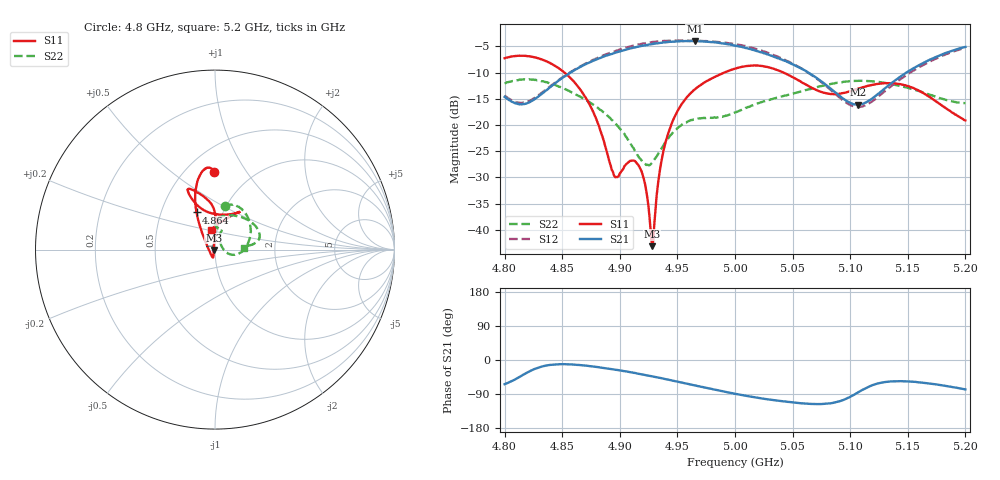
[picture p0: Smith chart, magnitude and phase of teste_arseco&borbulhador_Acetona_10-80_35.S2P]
! Network Analyzer HP8722D
! Hewlett-Packard
! Data name: Linha & Wilkinson
! Saver's name: Rodrigo Anjos
! Comments: Teste da utilização de aquisição
! continua pelo VNA HP8722D
! Time and date: 25/4/2025 15:33
!  Frequency  S11  S21  S12  S22
# HZ  S  MA R 50
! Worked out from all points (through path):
!   401 points, 4.8 GHz to 5.2 GHz, reference 50 ohm
!   highest |S21| = -3.97 dB at 4.965 GHz (marker M1); lowest = -16.1 dB at 5.107 GHz (marker M2)
!   lowest |S11| = -43.1 dB at 4.928 GHz (marker M3), VSWR 1.01, Z = 49.3 - j0.152 ohm
!   |S11| at or under -10 dB: 4.852 GHz to 4.991 GHz (138.8 MHz wide, 2.82 % of centre); 5.042 GHz to end of sweep
!   |S22| runs from -27.7 to -11.3 dB; largest |S21 - S12| = 1.2
!   S11 on the Smith chart (normalised r, x): 4.8 GHz: 0.68, +0.72; 4.864 GHz: 0.75, +0.33; 5.2 GHz: 0.94, +0.21
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4.8e9  0.4334 90.6  0.1854 -63.7  0.1907 69.7  0.2482 77.2
4.82e9  0.4524 96.8  0.1619 -32.5  0.1673 98.5  0.2715 61.7
4.864e9  0.2309 116.4  0.3502 -12.9  0.3529 120.9  0.1896 11.9
4.867e9  0.2076 118.2  0.3645 -14.1  0.368 120.5  0.1828 8.5
4.88e9  0.1104 128.5  0.4232 -18.4  0.4328 118.2  0.1487 -5.4
4.895e9  0.0329 -173.1  0.4852 -25.0  0.5011 113.8  0.1065 -15.7
4.91e9  0.04558 -106.2  0.5394 -32.6  0.5645 107.0  0.06439 -13.6
4.917e9  0.03967 -103.0  0.5626 -36.6  0.5887 103.3  0.04826 -0.8
4.922e9  0.02704 -106.2  0.576 -39.5  0.6024 100.5  0.04252 16.5
4.928e9  0.00696 -167.2  0.5917 -43.0  0.6181 97.0  0.04351 41.6
4.93e9  0.01146 124.7  0.5975 -44.4  0.6207 95.6  0.0467 48.3
4.934e9  0.03222 99.2  0.6046 -46.8  0.63 93.1  0.05482 58.4
4.939e9  0.06353 92.8  0.6143 -50.0  0.6357 90.0  0.06706 66.1
4.946e9  0.1093 89.7  0.6245 -54.7  0.6383 85.5  0.08433 70.0
4.965e9  0.218 91.0  0.6332 -67.0  0.6375 73.3  0.1137 71.6
5e9  0.3448 109.0  0.5719 -89.2  0.5916 50.6  0.1316 88.5
5.029e9  0.3557 114.9  0.4695 -103.9  0.4856 34.1  0.1728 85.7
5.067e9  0.225 104.9  0.3005 -115.9  0.2979 23.5  0.2228 56.9
5.107e9  0.2223 63.7  0.1562 -85.3  0.1481 57.9  0.2638 24.1
5.134e9  0.2506 56.9  0.2417 -56.7  0.2271 88.6  0.2483 12.3
5.169e9  0.1849 69.5  0.4196 -62.1  0.4027 84.7  0.1943 6.9
5.2e9  0.1103 100.2  0.5557 -77.6  0.5453 70.0  0.1611 3.8
